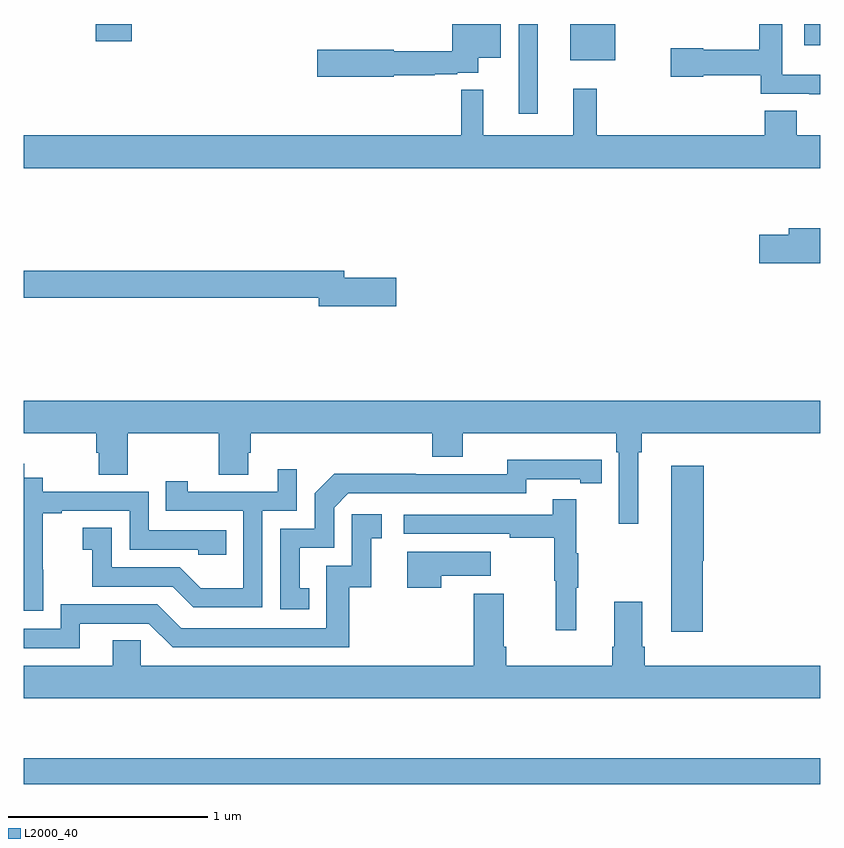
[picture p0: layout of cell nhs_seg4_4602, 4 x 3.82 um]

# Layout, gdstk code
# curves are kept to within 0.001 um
import gdstk
lib = gdstk.Library(unit=1e-6, precision=1e-09)
def R(c, l, rs):  # rectangles x0, y0, x1, y1
    for r in rs: c.add(gdstk.rectangle(r[:2], r[2:], *l))
def P(c, l, *ps):  # polygons
    for p in ps: c.add(gdstk.Polygon(p, *l))
L2000_40 = (2000, 40)

nhs_seg4_4602 = lib.new_cell('nhs_seg4_4602')
R(nhs_seg4_4602, L2000_40, [(359,771.082,363,771.211), (361.485,774.45,361.582,774.9), (361.745,774.719,361.972,774.9), (362.921,774.792,363,774.9), (359.36,774.813,359.543,774.9)])
P(nhs_seg4_4602, L2000_40, [(360.858,774.642),(361.064,774.642),(361.064,774.648),(361.178,774.648),(361.178,774.654),(361.282,774.654),(361.282,774.731),(361.396,774.731),(361.396,774.9),(361.153,774.9),(361.153,774.763),(360.858,774.763),(360.858,774.771),(360.474,774.771),(360.474,774.634),(360.858,774.634)],
  [(363,774.646),(362.811,774.646),(362.811,774.9),(362.695,774.9),(362.695,774.77),(362.412,774.77),(362.412,774.778),(362.25,774.778),(362.25,774.634),(362.412,774.634),(362.412,774.642),(362.703,774.642),(362.703,774.549),(362.945,774.549),(362.945,774.548),(363,774.548)],
  [(363,774.34),(362.883,774.34),(362.883,774.464),(362.723,774.464),(362.723,774.34),(361.877,774.34),(361.877,774.574),(361.76,774.574),(361.76,774.34),(361.307,774.34),(361.307,774.569),(361.198,774.569),(361.198,774.34),(359,774.34),(359,774.176),(363,774.176)],
  [(363,773.875),(362.843,773.875),(362.843,773.841),(362.694,773.841),(362.694,773.699),(363,773.699)],
  [(360.871,773.624),(360.61,773.624),(360.61,773.66),(359,773.66),(359,773.524),(360.482,773.524),(360.482,773.482),(360.871,773.482)],
  [(362.086,772.748),(362.105,772.748),(362.105,772.844),(363,772.844),(363,773.008),(359,773.008),(359,772.844),(359.363,772.844),(359.363,772.746),(359.375,772.746),(359.375,772.636),(359.523,772.636),(359.523,772.844),(359.98,772.844),(359.98,772.636),(360.127,772.636),(360.127,772.746),(360.14,772.746),(360.14,772.844),(361.052,772.844),(361.052,772.727),(361.204,772.727),(361.204,772.844),(361.976,772.844),(361.976,772.748),(361.989,772.748),(361.989,772.389),(362.086,772.389)],
  [(360.434,772.065),(360.385,772.065),(360.385,772.269),(360.558,772.269),(360.558,772.47),(360.63,772.542),(361.524,772.542),(361.524,772.614),(361.796,772.614),(361.796,772.594),(361.904,772.594),(361.904,772.71),(361.428,772.711),(361.428,772.638),(360.968,772.638),(360.968,772.64),(360.56,772.64),(360.462,772.542),(360.462,772.365),(360.288,772.365),(360.288,771.96),(360.434,771.96)],
  [(359.097,772.159),(359.096,772.159),(359.096,772.443),(359.191,772.443),(359.191,772.455),(359.532,772.455),(359.532,772.26),(359.877,772.26),(359.877,772.233),(360.017,772.233),(360.017,772.356),(359.628,772.356),(359.628,772.551),(359.094,772.551),(359.094,772.62),(359.002,772.62),(359.002,772.69),(359,772.69),(359,771.953),(359.097,771.953)],
  [(362.411,772.203),(362.416,772.203),(362.416,772.681),(362.252,772.681),(362.252,771.846),(362.411,771.846)],
  [(360.198,772.455),(360.372,772.455),(360.372,772.663),(360.275,772.663),(360.275,772.551),(359.824,772.551),(359.824,772.603),(359.713,772.603),(359.713,772.455),(360.102,772.455),(360.102,772.066),(359.888,772.066),(359.784,772.17),(359.442,772.17),(359.442,772.369),(359.295,772.369),(359.295,772.259),(359.344,772.259),(359.344,772.074),(359.747,772.074),(359.852,771.969),(360.198,771.969)],
  [(361.775,772.067),(361.786,772.067),(361.786,772.241),(361.775,772.241),(361.775,772.513),(361.657,772.513),(361.657,772.434),(360.909,772.434),(360.909,772.338),(361.441,772.338),(361.441,772.318),(361.665,772.318),(361.665,772.104),(361.672,772.104),(361.672,771.855),(361.775,771.855)],
  [(359.281,771.888),(359.628,771.888),(359.748,771.768),(360.635,771.768),(360.635,772.071),(360.746,772.071),(360.746,772.317),(360.799,772.317),(360.799,772.438),(360.648,772.438),(360.648,772.179),(360.519,772.179),(360.519,771.864),(359.79,771.864),(359.67,771.984),(359.184,771.984),(359.184,771.861),(359,771.861),(359,771.765),(359.281,771.765)],
  [(361.097,772.127),(361.345,772.127),(361.345,772.249),(360.926,772.249),(360.926,772.068),(361.097,772.068)],
  [(363,771.676),(362.12,771.676),(362.12,771.772),(362.107,771.772),(362.107,771.997),(361.967,771.997),(361.967,771.772),(361.955,771.772),(361.955,771.676),(361.424,771.676),(361.424,771.772),(361.411,771.772),(361.411,772.039),(361.259,772.039),(361.259,771.676),(359.586,771.676),(359.586,771.803),(359.447,771.803),(359.447,771.676),(359,771.676),(359,771.512),(363,771.512)])

lib.write_gds('nhs_seg4_4602.gds')
